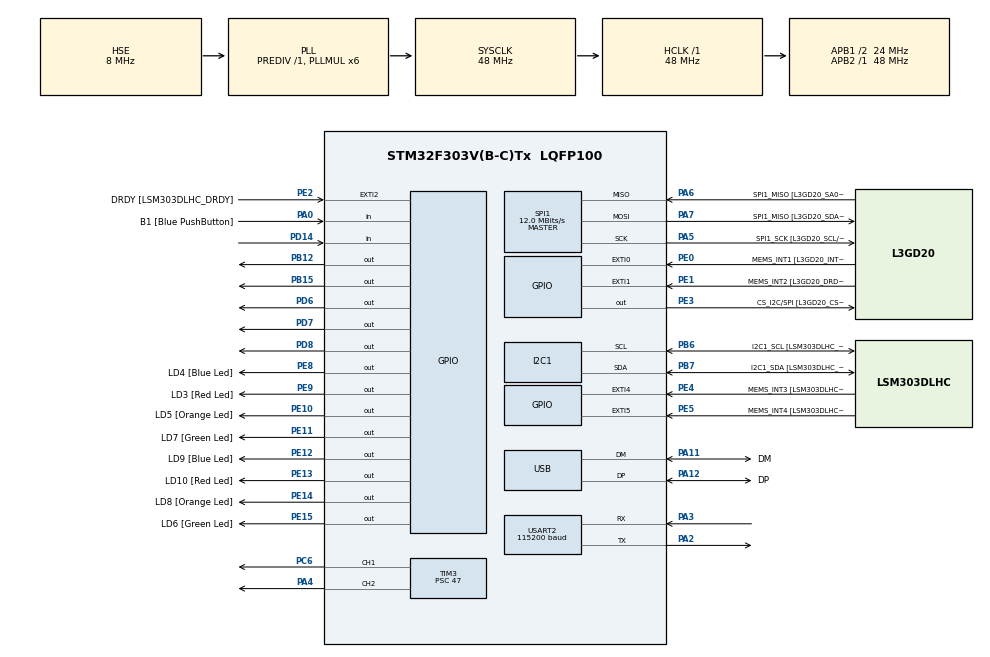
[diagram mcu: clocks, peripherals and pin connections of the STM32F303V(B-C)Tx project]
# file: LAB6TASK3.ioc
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I2C1.Timing=0x00201D2B
I2C1.Timing-I2C=0x2000090E
Mcu.Family=STM32F3
Mcu.Name=STM32F303V(B-C)Tx
Mcu.Package=LQFP100
NVIC.PriorityGroup=NVIC_PRIORITYGROUP_0
PA0.GPIO_Label=B1 [Blue PushButton]
PA0.Signal=GPIO_Input
PA11.GPIO_Label=DM
PA11.Mode=Device
PA11.Signal=USB_DM
PA12.GPIO_Label=DP
PA12.Mode=Device
PA12.Signal=USB_DP
PA13.GPIO_Label=SWDIO
PA13.Mode=Serial_Wire
PA13.Signal=SYS_JTMS-SWDIO
PA14.GPIO_Label=SWCLK
PA14.Mode=Serial_Wire
PA14.Signal=SYS_JTCK-SWCLK
PA2.Mode=Asynchronous
PA2.Signal=USART2_TX
PA3.Mode=Asynchronous
PA3.Signal=USART2_RX
PA4.Signal=S_TIM3_CH2
PA5.GPIO_Label=SPI1_SCK [L3GD20_SCL/SPC]
PA5.Mode=Full_Duplex_Master
PA5.Signal=SPI1_SCK
PA6.GPIO_Label=SPI1_MISO [L3GD20_SA0/SDO]
PA6.Mode=Full_Duplex_Master
PA6.Signal=SPI1_MISO
PA7.GPIO_Label=SPI1_MISO [L3GD20_SDA/SDI/SDO]
PA7.Mode=Full_Duplex_Master
PA7.Signal=SPI1_MOSI
PB12.Signal=GPIO_Output
PB15.Signal=GPIO_Output
PB3.GPIO_Label=SWO
PB3.Signal=SYS_JTDO-TRACESWO
PB6.GPIO_Label=I2C1_SCL [LSM303DLHC_SCL]
PB6.GPIO_Pu=GPIO_PULLUP
PB6.Mode=I2C
PB6.Signal=I2C1_SCL
PB7.GPIO_Label=I2C1_SDA [LSM303DLHC_SDA]
PB7.GPIO_Pu=GPIO_PULLUP
PB7.Mode=I2C
PB7.Signal=I2C1_SDA
PC14-OSC32_IN.GPIO_Label=OSC32_IN
PC14-OSC32_IN.Signal=RCC_OSC32_IN
PC15-OSC32_OUT.GPIO_Label=OSC32_OUT
PC15-OSC32_OUT.Signal=RCC_OSC32_OUT
PC6.Signal=S_TIM3_CH1
PD14.Signal=GPIO_Input
PD6.Signal=GPIO_Output
PD7.Signal=GPIO_Output
PD8.Signal=GPIO_Output
PE0.GPIO_Label=MEMS_INT1 [L3GD20_INT1]
PE0.GPIO_ModeDefaultEXTI=GPIO_MODE_EVT_RISING
PE0.Signal=GPXTI0
PE1.GPIO_Label=MEMS_INT2 [L3GD20_DRDY/INT2]
PE1.GPIO_ModeDefaultEXTI=GPIO_MODE_EVT_RISING
PE1.Signal=GPXTI1
PE10.GPIO_Label=LD5 [Orange Led]
PE10.Signal=GPIO_Output
PE11.GPIO_Label=LD7 [Green Led]
PE11.Signal=GPIO_Output
PE12.GPIO_Label=LD9 [Blue Led]
PE12.Signal=GPIO_Output
PE13.GPIO_Label=LD10 [Red Led]
PE13.Signal=GPIO_Output
PE14.GPIO_Label=LD8 [Orange Led]
PE14.Signal=GPIO_Output
PE15.GPIO_Label=LD6 [Green Led]
PE15.Signal=GPIO_Output
PE2.GPIO_Label=DRDY [LSM303DLHC_DRDY]
PE2.GPIO_ModeDefaultEXTI=GPIO_MODE_EVT_RISING
PE2.Signal=GPXTI2
PE3.GPIO_Label=CS_I2C/SPI [L3GD20_CS_I2C/SPI]
PE3.Signal=GPIO_Output
PE4.GPIO_Label=MEMS_INT3 [LSM303DLHC_INT1]
PE4.GPIO_ModeDefaultEXTI=GPIO_MODE_EVT_RISING
PE4.Signal=GPXTI4
PE5.GPIO_Label=MEMS_INT4 [LSM303DLHC_INT2]
PE5.GPIO_ModeDefaultEXTI=GPIO_MODE_EVT_RISING
PE5.Signal=GPXTI5
PE8.GPIO_Label=LD4 [Blue Led]
PE8.Signal=GPIO_Output
PE9.GPIO_Label=LD3 [Red Led]
PE9.Signal=GPIO_Output
PF0-OSC_IN.GPIO_Label=OSC_IN
PF0-OSC_IN.Mode=HSE-External-Clock-Source
PF0-OSC_IN.Signal=RCC_OSC_IN
PF1-OSC_OUT.GPIO_Label=OSC_OUT
PF1-OSC_OUT.Signal=RCC_OSC_OUT
ProjectManager.HeapSize=0x200
ProjectManager.StackSize=0x400
ProjectManager.TargetToolchain=CMake
RCC.AHBFreq_Value=48000000
RCC.APB1CLKDivider=RCC_HCLK_DIV2
RCC.APB1Freq_Value=24000000
RCC.APB1TimFreq_Value=48000000
RCC.APB2Freq_Value=48000000
RCC.APB2TimFreq_Value=48000000
RCC.CortexFreq_Value=48000000
RCC.HCLKFreq_Value=48000000
RCC.HSE_VALUE=8000000
RCC.HSI_VALUE=8000000
RCC.LSE_VALUE=32768
RCC.PLLMUL=RCC_PLL_MUL6
RCC.SYSCLKFreq_VALUE=48000000
RCC.SYSCLKSourceVirtual=RCC_SYSCLKSOURCE_PLLCLK
RCC.USBFreq_Value=48000000
SH.S_TIM3_CH1.0=TIM3_CH1,PWM Generation1 CH1
SH.S_TIM3_CH2.0=TIM3_CH2,PWM Generation2 CH2
SPI1.BaudRatePrescaler=SPI_BAUDRATEPRESCALER_4
SPI1.BaudRatePrescaler-Full_Duplex_Master=SPI_BAUDRATEPRESCALER_2
SPI1.CalculateBaudRate=12.0 MBits/s
SPI1.CalculateBaudRate-Full_Duplex_Master=24.0 MBits/s
SPI1.Direction=SPI_DIRECTION_2LINES
SPI1.Mode=SPI_MODE_MASTER
SPI1.Mode-Full_Duplex_Master=SPI_MODE_MASTER
SPI1.VirtualType=VM_MASTER
TIM2.Period=65535
TIM2.Prescaler=47
TIM3.Channel-PWM\ Generation1\ CH1=TIM_CHANNEL_1
TIM3.Channel-PWM\ Generation2\ CH2=TIM_CHANNEL_2
TIM3.Period=999
TIM3.Prescaler=47
USART2.BaudRate=115200
USART2.VirtualMode-Asynchronous=VM_ASYNC
VP_TIM2_VS_ClockSourceINT.Mode=Internal
board=STM32F3DISCOVERY

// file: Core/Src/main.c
/* USER CODE BEGIN Header */
/**
  ******************************************************************************
  * @file           : main.c
  * @brief          : Main program body
  ******************************************************************************
  * @attention
  *
  * Copyright (c) 2026 STMicroelectronics.
  * All rights reserved.
  *
  * This software is licensed under terms that can be found in the LICENSE file
  * in the root directory of this software component.
  * If no LICENSE file comes with this software, it is provided AS-IS.
  *
  ******************************************************************************
  */
/* USER CODE END Header */
#include "main.h"
#include <stdio.h>

I2C_HandleTypeDef hi2c1;

SPI_HandleTypeDef hspi1;

TIM_HandleTypeDef htim2;
TIM_HandleTypeDef htim3;

UART_HandleTypeDef huart2;

PCD_HandleTypeDef hpcd_USB_FS;

void SystemClock_Config(void);
static void MX_GPIO_Init(void);
static void MX_I2C1_Init(void);
static void MX_SPI1_Init(void);
static void MX_TIM3_Init(void);
static void MX_USART2_UART_Init(void);
static void MX_USB_PCD_Init(void);
static void MX_TIM2_Init(void);

/* USER CODE BEGIN 0 */
char uart_buffer[100];

int _write(int file, char *ptr, int len)
{
    HAL_UART_Transmit(&huart2, (uint8_t*)ptr, len, HAL_MAX_DELAY);
    return len;
}
/* USER CODE END 0 */

int main(void)
{

  /* MCU Configuration--------------------------------------------------------*/

  /* Reset of all peripherals, Initializes the Flash interface and the Systick. */
  HAL_Init();

  /* Configure the system clock */
  SystemClock_Config();

  /* Initialize all configured peripherals */
  MX_GPIO_Init();
  MX_I2C1_Init();
  MX_SPI1_Init();
  MX_TIM3_Init();
  MX_USART2_UART_Init();
  MX_USB_PCD_Init();
  MX_TIM2_Init();
  /* USER CODE BEGIN 2 */
  HAL_TIM_PWM_Start(&htim3, TIM_CHANNEL_1);  // PWM start
  HAL_TIM_Base_Start(&htim2);               // Timer for measurement
  /* USER CODE END 2 */

  /* Infinite loop */
  /* USER CODE BEGIN WHILE */
  uint32_t t1 = 0, t2 = 0, ticks = 0;
  uint8_t prev = 1, curr;
  uint32_t frequency = 0;
  uint32_t rpm = 0;
  #define PPR 330

  while (1)
  {
    /* USER CODE END WHILE */

    /* USER CODE BEGIN 3 */
    // ---------------- MOTOR FORWARD ----------------
    HAL_GPIO_WritePin(GPIOB, GPIO_PIN_12, 0);
    HAL_GPIO_WritePin(GPIOD, GPIO_PIN_8, 1);

    __HAL_TIM_SET_COMPARE(&htim3, TIM_CHANNEL_1, 500); // 50% duty

    // ---------------- READ ENCODER ----------------
    curr = HAL_GPIO_ReadPin(GPIOD, GPIO_PIN_14);

    // detect falling edge
    if (prev == 1 && curr == 0)
    {
        t1 = __HAL_TIM_GET_COUNTER(&htim2);

        // wait for next falling edge
        while (HAL_GPIO_ReadPin(GPIOD, GPIO_PIN_14) == 0); // go high
        while (HAL_GPIO_ReadPin(GPIOD, GPIO_PIN_14) == 1); // next falling

        t2 = __HAL_TIM_GET_COUNTER(&htim2);

        // handle overflow
        if (t2 >= t1)
            ticks = t2 - t1;
        else
            ticks = (65535 - t1) + t2;

        if (ticks != 0)
        {
            frequency = 1000000 / ticks;   // 1 MHz
            rpm = (60 * frequency) / PPR;
        }

        printf("Freq: %lu Hz | RPM: %lu\r\n", frequency, rpm);

        HAL_Delay(50);
    }

    prev = curr;
  }
  /* USER CODE END 3 */
}

void SystemClock_Config(void)
{
  RCC_OscInitTypeDef RCC_OscInitStruct = {0};
  RCC_ClkInitTypeDef RCC_ClkInitStruct = {0};
  RCC_PeriphCLKInitTypeDef PeriphClkInit = {0};

  /** Initializes the RCC Oscillators according to the specified parameters
  * in the RCC_OscInitTypeDef structure.
  */
  RCC_OscInitStruct.OscillatorType = RCC_OSCILLATORTYPE_HSI|RCC_OSCILLATORTYPE_HSE;
  RCC_OscInitStruct.HSEState = RCC_HSE_BYPASS;
  RCC_OscInitStruct.HSEPredivValue = RCC_HSE_PREDIV_DIV1;
  RCC_OscInitStruct.HSIState = RCC_HSI_ON;
  RCC_OscInitStruct.HSICalibrationValue = RCC_HSICALIBRATION_DEFAULT;
  RCC_OscInitStruct.PLL.PLLState = RCC_PLL_ON;
  RCC_OscInitStruct.PLL.PLLSource = RCC_PLLSOURCE_HSE;
  RCC_OscInitStruct.PLL.PLLMUL = RCC_PLL_MUL6;
  if (HAL_RCC_OscConfig(&RCC_OscInitStruct) != HAL_OK)
  {
    Error_Handler();
  }

  /** Initializes the CPU, AHB and APB buses clocks
  */
  RCC_ClkInitStruct.ClockType = RCC_CLOCKTYPE_HCLK|RCC_CLOCKTYPE_SYSCLK
                              |RCC_CLOCKTYPE_PCLK1|RCC_CLOCKTYPE_PCLK2;
  RCC_ClkInitStruct.SYSCLKSource = RCC_SYSCLKSOURCE_PLLCLK;
  RCC_ClkInitStruct.AHBCLKDivider = RCC_SYSCLK_DIV1;
  RCC_ClkInitStruct.APB1CLKDivider = RCC_HCLK_DIV2;
  RCC_ClkInitStruct.APB2CLKDivider = RCC_HCLK_DIV1;

  if (HAL_RCC_ClockConfig(&RCC_ClkInitStruct, FLASH_LATENCY_1) != HAL_OK)
  {
    Error_Handler();
  }
  PeriphClkInit.PeriphClockSelection = RCC_PERIPHCLK_USB|RCC_PERIPHCLK_USART2
                              |RCC_PERIPHCLK_I2C1;
  PeriphClkInit.Usart2ClockSelection = RCC_USART2CLKSOURCE_PCLK1;
  PeriphClkInit.I2c1ClockSelection = RCC_I2C1CLKSOURCE_HSI;
  PeriphClkInit.USBClockSelection = RCC_USBCLKSOURCE_PLL;
  if (HAL_RCCEx_PeriphCLKConfig(&PeriphClkInit) != HAL_OK)
  {
    Error_Handler();
  }
}

static void MX_I2C1_Init(void)
{

  hi2c1.Instance = I2C1;
  hi2c1.Init.Timing = 0x00201D2B;
  hi2c1.Init.OwnAddress1 = 0;
  hi2c1.Init.AddressingMode = I2C_ADDRESSINGMODE_7BIT;
  hi2c1.Init.DualAddressMode = I2C_DUALADDRESS_DISABLE;
  hi2c1.Init.OwnAddress2 = 0;
  hi2c1.Init.OwnAddress2Masks = I2C_OA2_NOMASK;
  hi2c1.Init.GeneralCallMode = I2C_GENERALCALL_DISABLE;
  hi2c1.Init.NoStretchMode = I2C_NOSTRETCH_DISABLE;
  if (HAL_I2C_Init(&hi2c1) != HAL_OK)
  {
    Error_Handler();
  }

  /** Configure Analogue filter
  */
  if (HAL_I2CEx_ConfigAnalogFilter(&hi2c1, I2C_ANALOGFILTER_ENABLE) != HAL_OK)
  {
    Error_Handler();
  }

  /** Configure Digital filter
  */
  if (HAL_I2CEx_ConfigDigitalFilter(&hi2c1, 0) != HAL_OK)
  {
    Error_Handler();
  }

}

static void MX_SPI1_Init(void)
{

  /* SPI1 parameter configuration*/
  hspi1.Instance = SPI1;
  hspi1.Init.Mode = SPI_MODE_MASTER;
  hspi1.Init.Direction = SPI_DIRECTION_2LINES;
  hspi1.Init.DataSize = SPI_DATASIZE_4BIT;
  hspi1.Init.CLKPolarity = SPI_POLARITY_LOW;
  hspi1.Init.CLKPhase = SPI_PHASE_1EDGE;
  hspi1.Init.NSS = SPI_NSS_SOFT;
  hspi1.Init.BaudRatePrescaler = SPI_BAUDRATEPRESCALER_4;
  hspi1.Init.FirstBit = SPI_FIRSTBIT_MSB;
  hspi1.Init.TIMode = SPI_TIMODE_DISABLE;
  hspi1.Init.CRCCalculation = SPI_CRCCALCULATION_DISABLE;
  hspi1.Init.CRCPolynomial = 7;
  hspi1.Init.CRCLength = SPI_CRC_LENGTH_DATASIZE;
  hspi1.Init.NSSPMode = SPI_NSS_PULSE_ENABLE;
  if (HAL_SPI_Init(&hspi1) != HAL_OK)
  {
    Error_Handler();
  }

}

static void MX_TIM2_Init(void)
{

  TIM_ClockConfigTypeDef sClockSourceConfig = {0};
  TIM_MasterConfigTypeDef sMasterConfig = {0};

  htim2.Instance = TIM2;
  htim2.Init.Prescaler = 47;
  htim2.Init.CounterMode = TIM_COUNTERMODE_UP;
  htim2.Init.Period = 65535;
  htim2.Init.ClockDivision = TIM_CLOCKDIVISION_DIV1;
  htim2.Init.AutoReloadPreload = TIM_AUTORELOAD_PRELOAD_DISABLE;
  if (HAL_TIM_Base_Init(&htim2) != HAL_OK)
  {
    Error_Handler();
  }
  sClockSourceConfig.ClockSource = TIM_CLOCKSOURCE_INTERNAL;
  if (HAL_TIM_ConfigClockSource(&htim2, &sClockSourceConfig) != HAL_OK)
  {
    Error_Handler();
  }
  sMasterConfig.MasterOutputTrigger = TIM_TRGO_RESET;
  sMasterConfig.MasterSlaveMode = TIM_MASTERSLAVEMODE_DISABLE;
  if (HAL_TIMEx_MasterConfigSynchronization(&htim2, &sMasterConfig) != HAL_OK)
  {
    Error_Handler();
  }

}

static void MX_TIM3_Init(void)
{

  TIM_MasterConfigTypeDef sMasterConfig = {0};
  TIM_OC_InitTypeDef sConfigOC = {0};

  htim3.Instance = TIM3;
  htim3.Init.Prescaler = 47;
  htim3.Init.CounterMode = TIM_COUNTERMODE_UP;
  htim3.Init.Period = 999;
  htim3.Init.ClockDivision = TIM_CLOCKDIVISION_DIV1;
  htim3.Init.AutoReloadPreload = TIM_AUTORELOAD_PRELOAD_DISABLE;
  if (HAL_TIM_PWM_Init(&htim3) != HAL_OK)
  {
    Error_Handler();
  }
  sMasterConfig.MasterOutputTrigger = TIM_TRGO_RESET;
  sMasterConfig.MasterSlaveMode = TIM_MASTERSLAVEMODE_DISABLE;
  if (HAL_TIMEx_MasterConfigSynchronization(&htim3, &sMasterConfig) != HAL_OK)
  {
    Error_Handler();
  }
  sConfigOC.OCMode = TIM_OCMODE_PWM1;
  sConfigOC.Pulse = 0;
  sConfigOC.OCPolarity = TIM_OCPOLARITY_HIGH;
  sConfigOC.OCFastMode = TIM_OCFAST_DISABLE;
  if (HAL_TIM_PWM_ConfigChannel(&htim3, &sConfigOC, TIM_CHANNEL_1) != HAL_OK)
  {
    Error_Handler();
  }
  if (HAL_TIM_PWM_ConfigChannel(&htim3, &sConfigOC, TIM_CHANNEL_2) != HAL_OK)
  {
    Error_Handler();
  }
  HAL_TIM_MspPostInit(&htim3);

}

static void MX_USART2_UART_Init(void)
{

  huart2.Instance = USART2;
  huart2.Init.BaudRate = 115200;
  huart2.Init.WordLength = UART_WORDLENGTH_8B;
  huart2.Init.StopBits = UART_STOPBITS_1;
  huart2.Init.Parity = UART_PARITY_NONE;
  huart2.Init.Mode = UART_MODE_TX_RX;
  huart2.Init.HwFlowCtl = UART_HWCONTROL_NONE;
  huart2.Init.OverSampling = UART_OVERSAMPLING_16;
  huart2.Init.OneBitSampling = UART_ONE_BIT_SAMPLE_DISABLE;
  huart2.AdvancedInit.AdvFeatureInit = UART_ADVFEATURE_NO_INIT;
  if (HAL_UART_Init(&huart2) != HAL_OK)
  {
    Error_Handler();
  }

}

static void MX_USB_PCD_Init(void)
{

  hpcd_USB_FS.Instance = USB;
  hpcd_USB_FS.Init.dev_endpoints = 8;
  hpcd_USB_FS.Init.speed = PCD_SPEED_FULL;
  hpcd_USB_FS.Init.phy_itface = PCD_PHY_EMBEDDED;
  hpcd_USB_FS.Init.low_power_enable = DISABLE;
  hpcd_USB_FS.Init.battery_charging_enable = DISABLE;
  if (HAL_PCD_Init(&hpcd_USB_FS) != HAL_OK)
  {
    Error_Handler();
  }

}

static void MX_GPIO_Init(void)
{
  GPIO_InitTypeDef GPIO_InitStruct = {0};

  /* GPIO Ports Clock Enable */
  __HAL_RCC_GPIOE_CLK_ENABLE();
  __HAL_RCC_GPIOC_CLK_ENABLE();
  __HAL_RCC_GPIOF_CLK_ENABLE();
  __HAL_RCC_GPIOA_CLK_ENABLE();
  __HAL_RCC_GPIOB_CLK_ENABLE();
  __HAL_RCC_GPIOD_CLK_ENABLE();

  /*Configure GPIO pin Output Level */
  HAL_GPIO_WritePin(GPIOE, CS_I2C_SPI_Pin|LD4_Pin|LD3_Pin|LD5_Pin
                          |LD7_Pin|LD9_Pin|LD10_Pin|LD8_Pin
                          |LD6_Pin, GPIO_PIN_RESET);

  /*Configure GPIO pin Output Level */
  HAL_GPIO_WritePin(GPIOB, GPIO_PIN_12|GPIO_PIN_15, GPIO_PIN_RESET);

  /*Configure GPIO pin Output Level */
  HAL_GPIO_WritePin(GPIOD, GPIO_PIN_8|GPIO_PIN_6|GPIO_PIN_7, GPIO_PIN_RESET);

  /*Configure GPIO pins : DRDY_Pin MEMS_INT3_Pin MEMS_INT4_Pin MEMS_INT1_Pin
                           MEMS_INT2_Pin */
  GPIO_InitStruct.Pin = DRDY_Pin|MEMS_INT3_Pin|MEMS_INT4_Pin|MEMS_INT1_Pin
                          |MEMS_INT2_Pin;
  GPIO_InitStruct.Mode = GPIO_MODE_EVT_RISING;
  GPIO_InitStruct.Pull = GPIO_NOPULL;
  HAL_GPIO_Init(GPIOE, &GPIO_InitStruct);

  /*Configure GPIO pins : CS_I2C_SPI_Pin LD4_Pin LD3_Pin LD5_Pin
                           LD7_Pin LD9_Pin LD10_Pin LD8_Pin
                           LD6_Pin */
  GPIO_InitStruct.Pin = CS_I2C_SPI_Pin|LD4_Pin|LD3_Pin|LD5_Pin
                          |LD7_Pin|LD9_Pin|LD10_Pin|LD8_Pin
                          |LD6_Pin;
  GPIO_InitStruct.Mode = GPIO_MODE_OUTPUT_PP;
  GPIO_InitStruct.Pull = GPIO_NOPULL;
  GPIO_InitStruct.Speed = GPIO_SPEED_FREQ_LOW;
  HAL_GPIO_Init(GPIOE, &GPIO_InitStruct);

  /*Configure GPIO pin : B1_Pin */
  GPIO_InitStruct.Pin = B1_Pin;
  GPIO_InitStruct.Mode = GPIO_MODE_INPUT;
  GPIO_InitStruct.Pull = GPIO_NOPULL;
  HAL_GPIO_Init(B1_GPIO_Port, &GPIO_InitStruct);

  /*Configure GPIO pins : PB12 PB15 */
  GPIO_InitStruct.Pin = GPIO_PIN_12|GPIO_PIN_15;
  GPIO_InitStruct.Mode = GPIO_MODE_OUTPUT_PP;
  GPIO_InitStruct.Pull = GPIO_NOPULL;
  GPIO_InitStruct.Speed = GPIO_SPEED_FREQ_LOW;
  HAL_GPIO_Init(GPIOB, &GPIO_InitStruct);

  /*Configure GPIO pins : PD8 PD6 PD7 */
  GPIO_InitStruct.Pin = GPIO_PIN_8|GPIO_PIN_6|GPIO_PIN_7;
  GPIO_InitStruct.Mode = GPIO_MODE_OUTPUT_PP;
  GPIO_InitStruct.Pull = GPIO_NOPULL;
  GPIO_InitStruct.Speed = GPIO_SPEED_FREQ_LOW;
  HAL_GPIO_Init(GPIOD, &GPIO_InitStruct);

  /*Configure GPIO pin : PD14 */
  GPIO_InitStruct.Pin = GPIO_PIN_14;
  GPIO_InitStruct.Mode = GPIO_MODE_INPUT;
  GPIO_InitStruct.Pull = GPIO_NOPULL;
  HAL_GPIO_Init(GPIOD, &GPIO_InitStruct);

}

void Error_Handler(void)
{
  __disable_irq();
  while (1)
  {
  }
}
